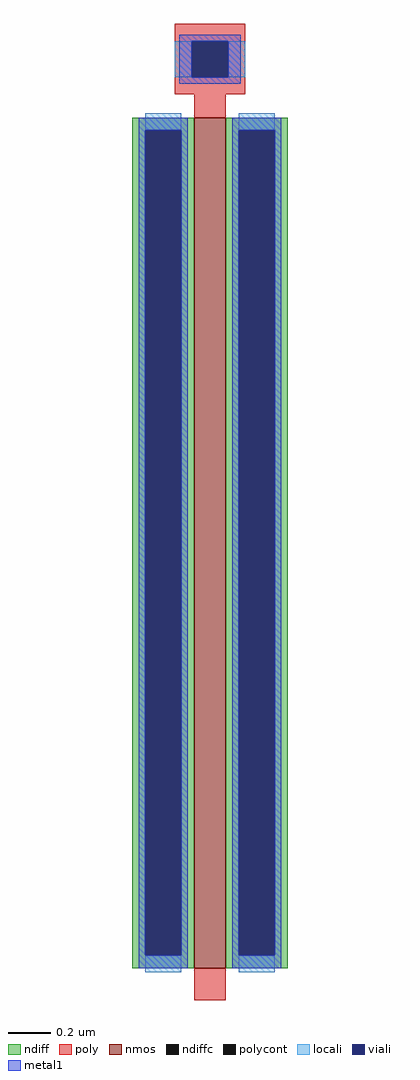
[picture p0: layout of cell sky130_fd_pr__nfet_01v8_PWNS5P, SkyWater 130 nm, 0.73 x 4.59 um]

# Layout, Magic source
magic
tech sky130A
magscale 1 2
<< nmos >>
rect -15 -400 15 400
<< ndiff >>
rect -73 388 -15 400
rect -73 -388 -61 388
rect -27 -388 -15 388
rect -73 -400 -15 -388
rect 15 388 73 400
rect 15 -388 27 388
rect 61 -388 73 388
rect 15 -400 73 -388
<< ndiffc >>
rect -61 -388 -27 388
rect 27 -388 61 388
<< poly >>
rect -33 472 33 488
rect -33 438 -17 472
rect 17 438 33 472
rect -33 422 33 438
rect -15 400 15 422
rect -15 -430 15 -400
<< polycont >>
rect -17 438 17 472
<< locali >>
rect -33 438 -17 472
rect 17 438 33 472
rect -61 388 -27 404
rect -61 -404 -27 -388
rect 27 388 61 404
rect 27 -404 61 -388
<< viali >>
rect -17 438 17 472
rect -61 -388 -27 388
rect 27 -388 61 388
<< metal1 >>
rect -29 472 29 478
rect -29 438 -17 472
rect 17 438 29 472
rect -29 432 29 438
rect -67 388 -21 400
rect -67 -388 -61 388
rect -27 -388 -21 388
rect -67 -400 -21 -388
rect 21 388 67 400
rect 21 -388 27 388
rect 61 -388 67 388
rect 21 -400 67 -388
<< properties >>
string FIXED_BBOX -158 -557 158 557
string gencell sky130_fd_pr__nfet_01v8
string library sky130
string parameters w 4.0 l 0.15 m 1 nf 1 diffcov 100 polycov 100 guard 1 glc 1 grc 1 gtc 1 gbc 1 tbcov 100 rlcov 100 topc 1 botc 1 poverlap 0 doverlap 1 lmin 0.15 wmin 0.42 compatible {sky130_fd_pr__nfet_01v8 sky130_fd_pr__nfet_01v8_lvt  sky130_fd_bs_flash__special_sonosfet_star  sky130_fd_pr__nfet_g5v0d10v5 sky130_fd_pr__nfet_05v0_nvt  sky130_fd_pr__nfet_03v3_nvt} full_metal 1 viasrc 100 viadrn 100 viagate 100 viagb 0 viagr 0 viagl 0 viagt 0
<< end >>
